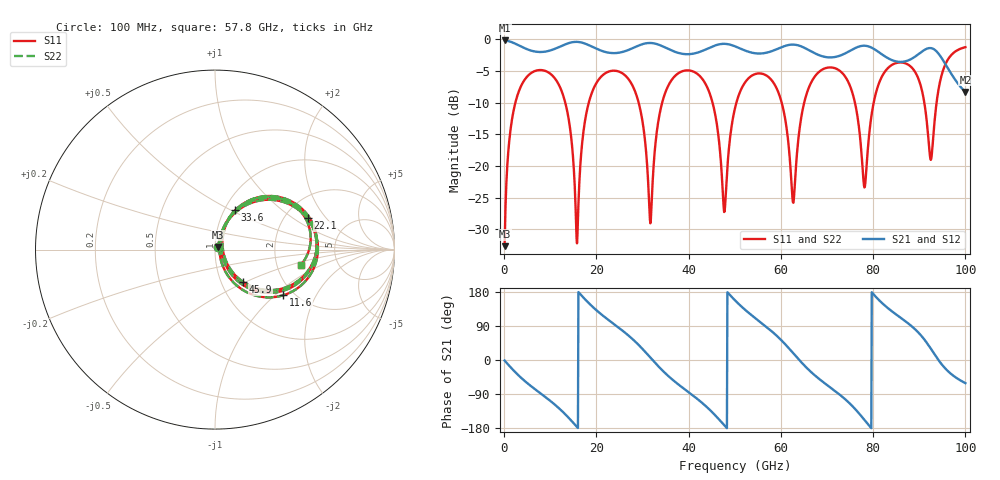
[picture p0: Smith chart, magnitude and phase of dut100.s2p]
! Touchstone file exported from HFSS 2026.1.0
!  File:  C:/ffzhzh/LocalFiles/Ansys_Project_Files/temp_train_TSV_RDL_100_1783633212_29156.aedt
!  Generated:  05:51:34 AM Jul 10, 2026
!  Design:  TSV_RDL
!  Project:  temp_train_TSV_RDL_100_1783633212_29156
! Variables:
!  h_bsmrdl = 3.34um
!  h_ox = 20um
!  h_rdl = 5um
!  h_sub = 67.75um
!  h_tmrdl = 4.17um
!  h_tsv = 67.75um
!  h_via = 3um
!  l_bsmrdl = 680.78um
!  l_sub = 3863.95um
!  l_tmrdl = 325.68um
!  m_sub = 200um
!  pitch = 52.32um
!  r_tsv = 7.97um
!  s_tmrdl = 10um
!  w_bsmrdl = 22.11um
!  w_sub = 500um
!  w_tmrdl = 17.52um
!  x_tsv_center1 = 334.44um
!  x_tsv_center2 = 1037.33um
!  x_tsv_center3 = 1380.53um
!  x_tsv_center4 = 2083.42um
!  x_tsv_center5 = 2426.62um
!  x_tsv_center6 = 3129.51um
# GHz S MA R 50.000000
! Terminal data exported
! Port[1] = TM_RDL1_1_T1
! Port[2] = TM_RDL5_1_T1
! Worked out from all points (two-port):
!   1000 points, 100 MHz to 100 GHz, reference 50 ohm
!   highest |S21| = -0.15 dB at 100 MHz (marker M1); lowest = -8.3 dB at 100 GHz (marker M2)
!   |S21| within 3 dB of the highest: start of sweep to 83.74 GHz; 88.07 GHz to 95.05 GHz (6.973 GHz wide, 7.62 % of centre)
!   lowest |S11| = -32.7 dB at 100 MHz (marker M3), VSWR 1.05, Z = 51.8 + j1.55 ohm
!   |S11| at or under -10 dB: 13.26 GHz to 18.34 GHz (5.087 GHz wide, 32.2 % of centre); 29.17 GHz to 34.25 GHz (5.087 GHz wide, 16 % of centre); 45.18 GHz to 50.35 GHz (5.163 GHz wide, 10.8 % of centre)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
!   |S22| runs from -32.7 to -1.2 dB; largest |S21 - S12| = 1.1e-12
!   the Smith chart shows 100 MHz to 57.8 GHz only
!   S11 on the Smith chart (normalised r, x): 100 MHz: 1.04, +0.03; 11.6 GHz: 1.76, -1.13; 22.1 GHz: 2.66, +1.32; 33.6 GHz: 1.12, +0.52; 45.9 GHz: 1.27, -0.49; 57.8 GHz: 2.73, -0.62
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0.1  0.02327 40.0  0.9824 -1.4  0.9824 -1.4  0.02327 40.0
! Gamma 0 0 0 0
! Port Impedance 50 0 50 0
3.2  0.3906 45.1  0.8977 -41.6  0.8977 -41.6  0.3906 45.1
11.6  0.4566 -33.9  0.8617 -124.2  0.8617 -124.2  0.4566 -34.0
15.7  0.02696 -21.9  0.9577 -175.4  0.9577 -175.4  0.02617 -22.8
16.8  0.1381 68.5  0.9458 169.8  0.9458 169.8  0.1379 68.9
22.1  0.5457 18.7  0.7939 110.5  0.7939 110.5  0.5457 18.7
28.6  0.3701 -40.5  0.8777 46.5  0.8777 46.5  0.3701 -40.5
31.7  0.03529 4.1  0.9387 6.5  0.9387 6.5  0.03471 4.0
33.4  0.2229 64.4  0.9125 -16.1  0.9125 -16.1  0.2227 64.6
33.6  0.246 62.8  0.9069 -18.7  0.9069 -18.7  0.2458 63.0
40  0.5698 4.3  0.7652 -85.1  0.7652 -85.1  0.5698 4.4
45.9  0.2389 -49.1  0.9007 -147.7  0.9007 -147.7  0.239 -48.9
47.8  0.04391 17.7  0.924 -173.1  0.924 -173.1  0.04488 17.5
50.1  0.2919 58.9  0.8817 156.9  0.8817 156.9  0.2921 58.8
57.8  0.4858 -10.2  0.8035 78.0  0.8035 78.0  0.4858 -10.3
62.7  0.05122 21.5  0.9112 17.6  0.9112 17.6  0.05093 21.4
66.7  0.4675 51.7  0.8003 -33.5  0.8003 -33.5  0.4674 51.8
74.3  0.4847 -13.5  0.7887 -107.5  0.7887 -107.5  0.4847 -13.4
78.1  0.06774 16.9  0.893 -157.9  0.893 -157.9  0.06953 17.1
83.4  0.6037 41.6  0.7056 134.9  0.7056 134.9  0.6039 41.4
93.2  0.2023 71.7  0.8365 17.0  0.8365 17.0  0.2004 72.4
100  0.8697 25.7  0.3847 -61.1  0.3847 -61.1  0.8695 25.8
